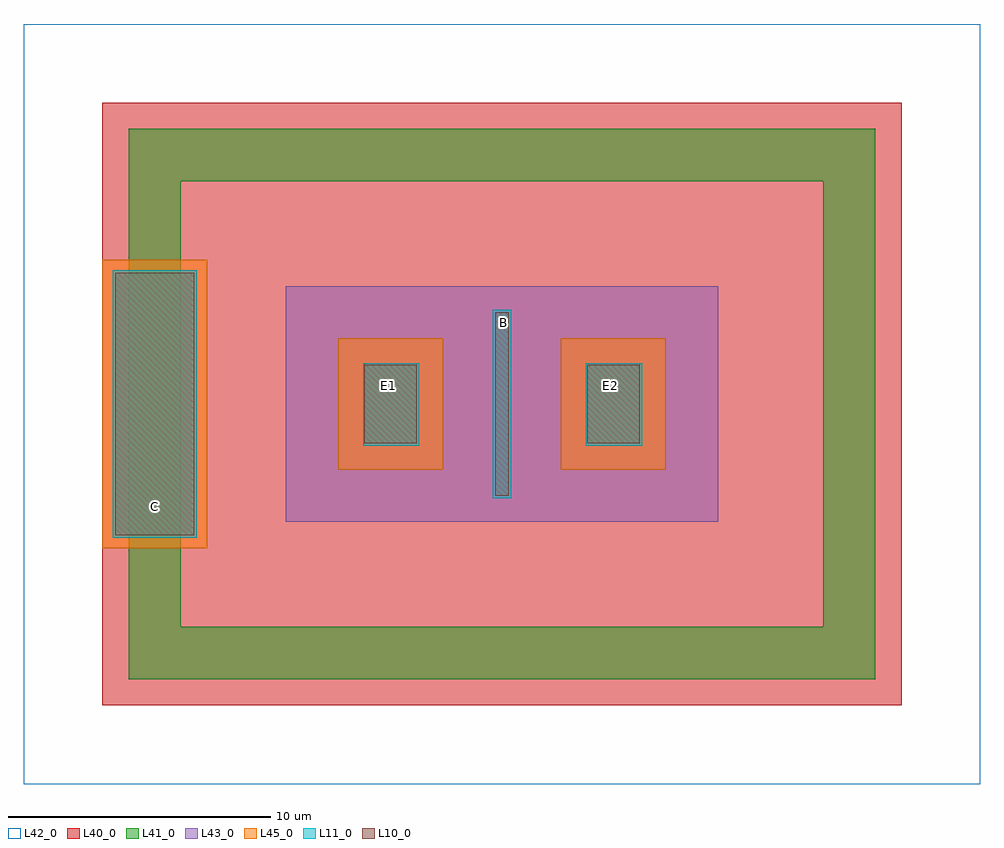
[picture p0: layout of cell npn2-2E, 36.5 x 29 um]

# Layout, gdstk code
import gdstk
lib = gdstk.Library(unit=1e-6, precision=1e-09)
def R(c, l, rs):  # rectangles x0, y0, x1, y1
    for r in rs: c.add(gdstk.rectangle(r[:2], r[2:], *l))
def P(c, l, *ps):  # polygons
    for p in ps: c.add(gdstk.Polygon(p, *l))
L10_0 = (10, 0)
L11_0 = (11, 0)
L40_0 = (40, 0)
L41_0 = (41, 0)
L42_0 = (42, 0)
L43_0 = (43, 0)
L45_0 = (45, 0)

npn2_2e = lib.new_cell('npn2-2E')
R(npn2_2e, L10_0, [(3.5,3.5,6.5,13.5), (18,5,18.5,12), (13,7,15,10), (21.5,7,23.5,10)])
R(npn2_2e, L11_0, [(3.4,3.4,6.6,13.6), (17.9,4.9,18.6,12.1), (12.95,6.9,15.1,10.05), (21.45,6.9,23.6,10.05)])
R(npn2_2e, L40_0, [(3,-3,33.5,20)])
R(npn2_2e, L41_0, [(4,4,6,13)])
P(npn2_2e, L41_0, [(32.5,19),(4,19),(4,13),(6,13),(6,17),(30.5,17),(30.5,0),(6,0),(6,4),(4,4),(4,-2),(32.5,-2)])
R(npn2_2e, L42_0, [(0,-6,36.5,23)])
R(npn2_2e, L43_0, [(10,4,26.5,13)])
R(npn2_2e, L45_0, [(3,3,7,14), (12,6,16,11), (20.5,6,24.5,11)])
npn2_2e.add(gdstk.Label('B', (18.3,11.6), layer=11, texttype=0))
npn2_2e.add(gdstk.Label('C', (5,4.6), layer=11, texttype=0))
npn2_2e.add(gdstk.Label('E1', (13.9,9.2), layer=11, texttype=0))
npn2_2e.add(gdstk.Label('E2', (22.4,9.2), layer=11, texttype=0))

lib.write_gds('npn2-2E.gds')
